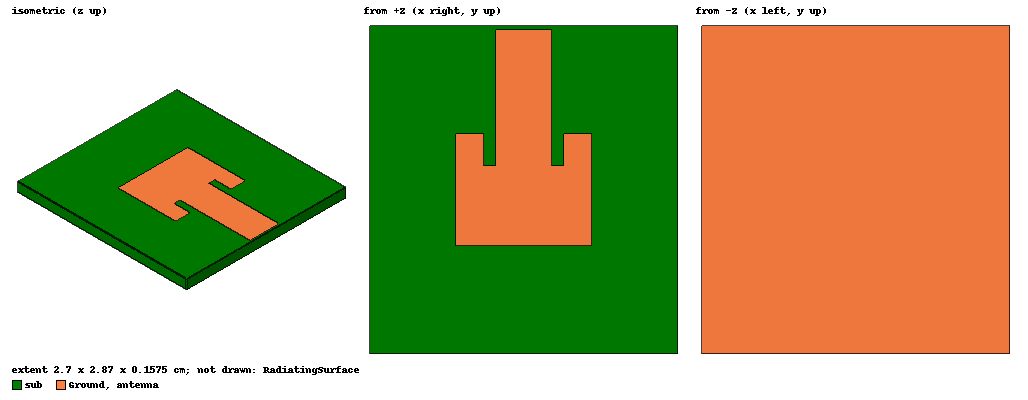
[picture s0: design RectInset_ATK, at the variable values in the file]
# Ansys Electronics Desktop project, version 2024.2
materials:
  vacuum: permittivity=1
  Duroid (tm): permittivity=2.2 dielectric_loss_tangent=0.0009

design RectInset_ATK (HFSS, HFSS Hybrid Terminal Network, model units cm)
options: Allow_Material_Override Save_Adaptive_support_files
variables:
  # --Antenna Dimensions
  patchX = 1.19cm  # Antenna Patch Width, along X-axis
  patchY = 0.98cm  # Antenna Patch Length, along Y-axis
  # --Substrate Dimensions
  subH = 0.1575cm  # Thikness or height of the PCB substrate
  subX = 2.7cm  # PCB substrate width
  subY = 2.87cm  # PCB substrate length
  # --Feed Dimensions
  InsetDistance = 0.276cm  # Distance of the antenna feed inset, how long the inset gets in the patch
  InsetGap = 0.1cm  # Gap between the inset feed and the antenna patch
  FeedWidth = 0.493cm  # Width of the antenna feed transmission line
  FeedLength = 0.914cm  # length of the antenna feed transmission line
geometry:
  sub [Duroid (tm)] = box(corner=(-subX/2, -subY/2, 0cm), size=(subX, subY, subH))
  Ground = rectangle(corner=(-subX/2, -subY/2, 0cm), x_size=subX, y_size=subY)
  antenna = rectangle(corner=(-patchX/2, -patchY/2, subH), x_size=patchX, y_size=patchY)
  NewObject_80GXDS = rectangle(corner=(-FeedWidth/2-InsetGap, patchY/2-InsetDistance, subH), x_size=FeedWidth+2*InsetGap, y_size=InsetDistance)
  antenna.subtract(NewObject_80GXDS)
  NewObject_INAT3D = rectangle(corner=(-FeedWidth/2, patchY/2-InsetDistance, subH), x_size=FeedWidth, y_size=FeedLength+InsetDistance)
  antenna.unite(NewObject_INAT3D)
  port1 = rectangle(corner=(-FeedWidth/2, patchY/2+FeedLength, 0cm), z_size=subH, x_size=FeedWidth)
  RadiatingSurface [vacuum] = region(absolute_offset=1cm on all sides)
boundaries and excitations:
  antennaMetal: Perfect E Objects=antenna
  groundMetal: Perfect E Objects=Ground
  Open1: Radiation Objects=RadiatingSurface
  port1_T1: Terminal port=1 Edges=port1.edge(at (0, 1.404, 0)) TerminalResistance=50ohm
  1: Lumped Port Faces=port1.face LumpedPortType=Terminal Impedance=50ohm
  reference conductors: antenna
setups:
  ATK_Solution: HfssDriven Frequency=10GHz MaxDeltaS=0.02 MaximumPasses=15 MinimumPasses=1 MinimumConvergedPasses=1 PercentRefinement=30 BasisOrder=1 PortAccuracy=2 DrivenSolverType="Direct Solver" IESolverType=ACA
    sweep FF_Sweep: 5GHz to 15GHz, 3 points; Type=Discrete SaveFields
    sweep SParam_Sweep: 5GHz to 15GHz, 100 points; Type=Interpolating InterpTolerance=0.5 InterpMaxSolns=250 PassivityErrorTolerance=0.0001
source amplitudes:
  1:1: 1V 0deg
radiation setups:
  3D: Infinite Sphere Theta=0deg..180deg step 2deg Phi=-180deg..180deg step 2deg
  Elevation: Infinite Sphere Theta=-180deg..180deg step 1deg Phi=0deg..90deg step 90deg
  Azimuth: Infinite Sphere Theta=90deg..90deg step 0deg Phi=-180deg..180deg step 1deg
  ATK_2D: Infinite Sphere Theta=-180deg..180deg step 1deg Phi=0deg..90deg step 90deg
  ATK_3D: Infinite Sphere Theta=-180deg..180deg step 2deg Phi=0deg..180deg step 5deg
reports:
  ff_3D_GainTotal: dB(GainTotal) vs Phi, Theta on ATK_Solution : LastAdaptive, ATK_3D [Freq=1e+10]
  ff_2D_GainTotal: dB(GainTotal) vs Theta on ATK_Solution : LastAdaptive, ATK_2D [Phi=all Freq=1e+10]
  ff_2D_GainTotal_Stacked: dB(GainTotal) vs Theta on ATK_Solution : FF_Sweep, ATK_2D [Phi=all Freq=all]
  Return Loss: dB(St11) vs Freq on ATK_Solution : SParam_Sweep; markers MY1 at y=-9.59862
  Input Impedance: St11 on ATK_Solution : SParam_Sweep [Freq=all]
